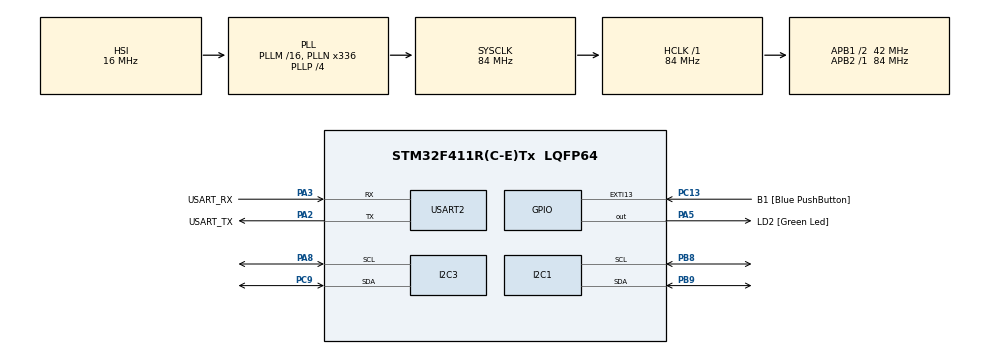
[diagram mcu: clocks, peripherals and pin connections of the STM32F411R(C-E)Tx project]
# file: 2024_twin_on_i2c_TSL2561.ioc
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I2C1.I2C_Mode=I2C_Fast
I2C3.I2C_Mode=I2C_Fast
Mcu.Family=STM32F4
Mcu.Name=STM32F411R(C-E)Tx
Mcu.Package=LQFP64
NVIC.PriorityGroup=NVIC_PRIORITYGROUP_0
PA13.GPIO_Label=TMS
PA13.Mode=Serial_Wire
PA13.Signal=SYS_JTMS-SWDIO
PA14.GPIO_Label=TCK
PA14.Mode=Serial_Wire
PA14.Signal=SYS_JTCK-SWCLK
PA2.GPIO_Label=USART_TX
PA2.Mode=Asynchronous
PA2.Signal=USART2_TX
PA3.GPIO_Label=USART_RX
PA3.Mode=Asynchronous
PA3.Signal=USART2_RX
PA5.GPIO_Label=LD2 [Green Led]
PA5.Signal=GPIO_Output
PA8.Mode=I2C
PA8.Signal=I2C3_SCL
PB3.GPIO_Label=SWO
PB3.Signal=SYS_JTDO-SWO
PB8.Mode=I2C
PB8.Signal=I2C1_SCL
PB9.Mode=I2C
PB9.Signal=I2C1_SDA
PC13-ANTI_TAMP.GPIO_Label=B1 [Blue PushButton]
PC13-ANTI_TAMP.GPIO_ModeDefaultEXTI=GPIO_MODE_IT_FALLING
PC13-ANTI_TAMP.Signal=GPXTI13
PC14-OSC32_IN.Mode=LSE-External-Oscillator
PC14-OSC32_IN.Signal=RCC_OSC32_IN
PC15-OSC32_OUT.Mode=LSE-External-Oscillator
PC15-OSC32_OUT.Signal=RCC_OSC32_OUT
PC9.Mode=I2C
PC9.Signal=I2C3_SDA
PH0\ -\ OSC_IN.Mode=HSE-External-Clock-Source
PH0\ -\ OSC_IN.Signal=RCC_OSC_IN
PH1\ -\ OSC_OUT.Mode=HSE-External-Clock-Source
PH1\ -\ OSC_OUT.Signal=RCC_OSC_OUT
ProjectManager.HeapSize=0x200
ProjectManager.StackSize=0x400
ProjectManager.TargetToolchain=STM32CubeIDE
RCC.48MHZClocksFreq_Value=84000000
RCC.AHBFreq_Value=84000000
RCC.APB1CLKDivider=RCC_HCLK_DIV2
RCC.APB1Freq_Value=42000000
RCC.APB1TimFreq_Value=84000000
RCC.APB2Freq_Value=84000000
RCC.APB2TimFreq_Value=84000000
RCC.CortexFreq_Value=84000000
RCC.FLatency-AdvancedSettings=FLASH_LATENCY_2
RCC.HCLKFreq_Value=84000000
RCC.HSE_VALUE=8000000
RCC.HSI_VALUE=16000000
RCC.PLLN=336
RCC.PLLP=RCC_PLLP_DIV4
RCC.SYSCLKFreq_VALUE=84000000
RCC.SYSCLKSource=RCC_SYSCLKSOURCE_PLLCLK
RCC.VCOOutputFreq_Value=336000000
USART2.VirtualMode=VM_ASYNC
board=NUCLEO-F411RE

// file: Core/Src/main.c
/* USER CODE BEGIN Header */
/**
  ******************************************************************************
  * @file           : main.c
  * @brief          : Main program body
  ******************************************************************************
  * @attention
  *
  * Copyright (c) 2024 STMicroelectronics.
  * All rights reserved.
  *
  * This software is licensed under terms that can be found in the LICENSE file
  * in the root directory of this software component.
  * If no LICENSE file comes with this software, it is provided AS-IS.
  *
  ******************************************************************************
  */
/* USER CODE END Header */
#include "main.h"
#include <string.h>		//for strlen and string_copy
#include <stdio.h>		//for sprintf

I2C_HandleTypeDef hi2c1;
I2C_HandleTypeDef hi2c3;

UART_HandleTypeDef huart2;

/* USER CODE BEGIN PV */
static const uint8_t TSL2561_ADDR_W = 0x72; //0x39 << 1 to write shift by 1 and add 0
static const uint8_t TSL2561_ADDR_R = 0x73; //(0x39 << 1) | 0x01 to read shift by 1 and add 1

uint8_t buffer[200]; //buffer for sending and receiving data

uint16_t read_value_TSL2561_ch0_both_A;	//raw value, both infrared and visible
uint16_t read_value_TSL2561_ch1_infraRed_A;	//raw value, just infrared
uint8_t buffer_get_ch0_A[2];	//buffer for  both infrared and visible reading
uint8_t buffer_get_ch1_A[2];	//buffer for just infrared reading
uint8_t id_A;

uint16_t read_value_TSL2561_ch0_both_B;	//raw value, both infrared and visible
uint16_t read_value_TSL2561_ch1_infraRed_B;	//raw value, just infrared
uint8_t buffer_get_ch0_B[2];	//buffer for  both infrared and visible reading
uint8_t buffer_get_ch1_B[2];	//buffer for just infrared reading
uint8_t id_B;
/* USER CODE END PV */

void SystemClock_Config(void);
static void MX_GPIO_Init(void);
static void MX_USART2_UART_Init(void);
static void MX_I2C1_Init(void);
static void MX_I2C3_Init(void);

int main(void)
{

  /* MCU Configuration--------------------------------------------------------*/

  /* Reset of all peripherals, Initializes the Flash interface and the Systick. */
  HAL_Init();

  /* Configure the system clock */
  SystemClock_Config();

  /* Initialize all configured peripherals */
  MX_GPIO_Init();
  MX_USART2_UART_Init();
  MX_I2C1_Init();
  MX_I2C3_Init();
  /* USER CODE BEGIN 2 */

  //to powered up --> manual 14 page " Control Register"

  	uint8_t resetControlRegister = 0x03;
//power up sensor A
  	HAL_I2C_Mem_Write(&hi2c1, TSL2561_ADDR_W, 0x80, 1, &resetControlRegister, 1,
  			HAL_MAX_DELAY);
  	HAL_Delay(500);
  	//read sensor ID A
  	HAL_I2C_Mem_Read(&hi2c1, TSL2561_ADDR_R, 0x8A, 1, &id_A, 1, HAL_MAX_DELAY);
  	sprintf((char*) buffer, "ID A%d  \r\n", (id_A));
  	HAL_UART_Transmit(&huart2, buffer, strlen((const char*) buffer),
  			HAL_MAX_DELAY);

  	//power up sensor B
  	  	HAL_I2C_Mem_Write(&hi2c3, TSL2561_ADDR_W, 0x80, 1, &resetControlRegister, 1,
  	  			HAL_MAX_DELAY);
  	  	HAL_Delay(500);
  	  	//read sensor ID B
  	  	HAL_I2C_Mem_Read(&hi2c3, TSL2561_ADDR_R, 0x8A, 1, &id_B, 1, HAL_MAX_DELAY);

  	  	sprintf((char*) buffer, "ID B%d  \r\n", (id_B));
  	    	  	HAL_UART_Transmit(&huart2, buffer, strlen((const char*) buffer),
  	  			HAL_MAX_DELAY);
  /* USER CODE END 2 */

  /* Infinite loop */
  while (1)
  {
	  /*After applying VDD, the device will initially be in the power-down state. To operate the device, issue a command
	  	  			 to access the CONTROL register followed by the data value 03h to power up the device. At this point, both ADC
	  	  			 channels will begin a conversion at the default integration time of 400 ms. After 400 ms, the conversion results
	  	  			 will be available in the DATA0 and DATA1 registers.*/
	  	  			//we do it before super loop
	  	  			/*One of the photodiodes 		(channel 0) is sensitive to both visible and infrared light, while the second
	  	  			 * photodiode (channel 1) is sensitive
	  	  			 primarily to infrared light.*/

	  	  			/* to calculate 'lux' there are formula in datasheet*/

	  	  			// Read 2 bytes from the channel 0 sensor A
	  	  			HAL_I2C_Mem_Read(&hi2c1, TSL2561_ADDR_R, 0xEC, 1, &buffer_get_ch0_A[0], 1,
	  	  					HAL_MAX_DELAY);
	  	  			HAL_Delay(70);
	  	  			HAL_I2C_Mem_Read(&hi2c1, TSL2561_ADDR_R, 0xED, 1, &buffer_get_ch0_A[1], 1,
	  	  					HAL_MAX_DELAY);
	  	  			HAL_Delay(70);
	  	  			// Read 2 bytes from the channel 1
	  	  			HAL_I2C_Mem_Read(&hi2c1, TSL2561_ADDR_R, 0xEE, 1, &buffer_get_ch1_A[0], 1,
	  	  					HAL_MAX_DELAY);
	  	  			HAL_Delay(70);
	  	  			HAL_I2C_Mem_Read(&hi2c1, TSL2561_ADDR_R, 0xEF, 1, &buffer_get_ch1_A[1], 1,
	  	  					HAL_MAX_DELAY);
	  	  			HAL_Delay(70);

	  	  			//Combine the bytes sensor A
	  	  			read_value_TSL2561_ch0_both_A = 256 * buffer_get_ch0_A[1]
	  	  					+ buffer_get_ch0_A[0];
	  	  			read_value_TSL2561_ch1_infraRed_A = 256 * buffer_get_ch1_A[1]
	  	  					+ buffer_get_ch1_A[0];

	  	  			//---------------------------------------
	  	  			// Read 2 bytes from the channel 0 sensor B
	  		  	  			HAL_I2C_Mem_Read(&hi2c3, TSL2561_ADDR_R, 0xEC, 1, &buffer_get_ch0_B[0], 1,
	  		  	  					HAL_MAX_DELAY);
	  		  	  			HAL_Delay(70);
	  		  	  			HAL_I2C_Mem_Read(&hi2c3, TSL2561_ADDR_R, 0xED, 1, &buffer_get_ch0_B[1], 1,
	  		  	  					HAL_MAX_DELAY);
	  		  	  			HAL_Delay(70);
	  		  	  			// Read 2 bytes from the channel 1
	  		  	  			HAL_I2C_Mem_Read(&hi2c3, TSL2561_ADDR_R, 0xEE, 1, &buffer_get_ch1_B[0], 1,
	  		  	  					HAL_MAX_DELAY);
	  		  	  			HAL_Delay(70);
	  		  	  			HAL_I2C_Mem_Read(&hi2c3, TSL2561_ADDR_R, 0xEF, 1, &buffer_get_ch1_B[1], 1,
	  		  	  					HAL_MAX_DELAY);
	  		  	  			HAL_Delay(70);

	  		  	  			//Combine the bytes sensor A
	  		  	  			read_value_TSL2561_ch0_both_B = 256 * buffer_get_ch0_B[1]
	  		  	  					+ buffer_get_ch0_B[0];
	  		  	  			read_value_TSL2561_ch1_infraRed_B = 256 * buffer_get_ch1_B[1]
	  		  	  					+ buffer_get_ch1_B[0];
	  		  	  		//Show sensors
	  		  	  			  		  	  			  	  			sprintf((char*) buffer, "Visible light A     %d  \t",
	  		  	  			  		  	  			  	  					(read_value_TSL2561_ch0_both_A));
	  		  	  			  		  	  			  	  			HAL_UART_Transmit(&huart2, buffer, strlen((const char*) buffer),
	  		  	  			  		  	  			  	  					HAL_MAX_DELAY);
	  		  	  			sprintf((char*) buffer, " %d  Visible light B\r\n",
	  		  	  					(read_value_TSL2561_ch0_both_B));
	  		  	  			HAL_UART_Transmit(&huart2, buffer, strlen((const char*) buffer),
	  		  	  					HAL_MAX_DELAY);

	  		  	  		sprintf((char*) buffer, "Infra red A         %d          ",
	  		  	  			  		  	  			  	  					(read_value_TSL2561_ch1_infraRed_A));
	  		  	  			  		  	  			  	  			HAL_UART_Transmit(&huart2, buffer, strlen((const char*) buffer),
	  		  	  			  		  	  			  	  					HAL_MAX_DELAY);

	  		  	  			sprintf((char*) buffer, " %d   Infra red B\r\n\n",
	  		  	  					(read_value_TSL2561_ch1_infraRed_B));
	  		  	  			HAL_UART_Transmit(&huart2, buffer, strlen((const char*) buffer),
	  		  	  					HAL_MAX_DELAY);

  }
}

void SystemClock_Config(void)
{
  RCC_OscInitTypeDef RCC_OscInitStruct = {0};
  RCC_ClkInitTypeDef RCC_ClkInitStruct = {0};

  /** Configure the main internal regulator output voltage
  */
  __HAL_RCC_PWR_CLK_ENABLE();
  __HAL_PWR_VOLTAGESCALING_CONFIG(PWR_REGULATOR_VOLTAGE_SCALE1);

  /** Initializes the RCC Oscillators according to the specified parameters
  * in the RCC_OscInitTypeDef structure.
  */
  RCC_OscInitStruct.OscillatorType = RCC_OSCILLATORTYPE_HSI;
  RCC_OscInitStruct.HSIState = RCC_HSI_ON;
  RCC_OscInitStruct.HSICalibrationValue = RCC_HSICALIBRATION_DEFAULT;
  RCC_OscInitStruct.PLL.PLLState = RCC_PLL_ON;
  RCC_OscInitStruct.PLL.PLLSource = RCC_PLLSOURCE_HSI;
  RCC_OscInitStruct.PLL.PLLM = 16;
  RCC_OscInitStruct.PLL.PLLN = 336;
  RCC_OscInitStruct.PLL.PLLP = RCC_PLLP_DIV4;
  RCC_OscInitStruct.PLL.PLLQ = 4;
  if (HAL_RCC_OscConfig(&RCC_OscInitStruct) != HAL_OK)
  {
    Error_Handler();
  }

  /** Initializes the CPU, AHB and APB buses clocks
  */
  RCC_ClkInitStruct.ClockType = RCC_CLOCKTYPE_HCLK|RCC_CLOCKTYPE_SYSCLK
                              |RCC_CLOCKTYPE_PCLK1|RCC_CLOCKTYPE_PCLK2;
  RCC_ClkInitStruct.SYSCLKSource = RCC_SYSCLKSOURCE_PLLCLK;
  RCC_ClkInitStruct.AHBCLKDivider = RCC_SYSCLK_DIV1;
  RCC_ClkInitStruct.APB1CLKDivider = RCC_HCLK_DIV2;
  RCC_ClkInitStruct.APB2CLKDivider = RCC_HCLK_DIV1;

  if (HAL_RCC_ClockConfig(&RCC_ClkInitStruct, FLASH_LATENCY_2) != HAL_OK)
  {
    Error_Handler();
  }
}

static void MX_I2C1_Init(void)
{

  hi2c1.Instance = I2C1;
  hi2c1.Init.ClockSpeed = 400000;
  hi2c1.Init.DutyCycle = I2C_DUTYCYCLE_2;
  hi2c1.Init.OwnAddress1 = 0;
  hi2c1.Init.AddressingMode = I2C_ADDRESSINGMODE_7BIT;
  hi2c1.Init.DualAddressMode = I2C_DUALADDRESS_DISABLE;
  hi2c1.Init.OwnAddress2 = 0;
  hi2c1.Init.GeneralCallMode = I2C_GENERALCALL_DISABLE;
  hi2c1.Init.NoStretchMode = I2C_NOSTRETCH_DISABLE;
  if (HAL_I2C_Init(&hi2c1) != HAL_OK)
  {
    Error_Handler();
  }

}

static void MX_I2C3_Init(void)
{

  hi2c3.Instance = I2C3;
  hi2c3.Init.ClockSpeed = 400000;
  hi2c3.Init.DutyCycle = I2C_DUTYCYCLE_2;
  hi2c3.Init.OwnAddress1 = 0;
  hi2c3.Init.AddressingMode = I2C_ADDRESSINGMODE_7BIT;
  hi2c3.Init.DualAddressMode = I2C_DUALADDRESS_DISABLE;
  hi2c3.Init.OwnAddress2 = 0;
  hi2c3.Init.GeneralCallMode = I2C_GENERALCALL_DISABLE;
  hi2c3.Init.NoStretchMode = I2C_NOSTRETCH_DISABLE;
  if (HAL_I2C_Init(&hi2c3) != HAL_OK)
  {
    Error_Handler();
  }

}

static void MX_USART2_UART_Init(void)
{

  huart2.Instance = USART2;
  huart2.Init.BaudRate = 115200;
  huart2.Init.WordLength = UART_WORDLENGTH_8B;
  huart2.Init.StopBits = UART_STOPBITS_1;
  huart2.Init.Parity = UART_PARITY_NONE;
  huart2.Init.Mode = UART_MODE_TX_RX;
  huart2.Init.HwFlowCtl = UART_HWCONTROL_NONE;
  huart2.Init.OverSampling = UART_OVERSAMPLING_16;
  if (HAL_UART_Init(&huart2) != HAL_OK)
  {
    Error_Handler();
  }

}

static void MX_GPIO_Init(void)
{
  GPIO_InitTypeDef GPIO_InitStruct = {0};

  /* GPIO Ports Clock Enable */
  __HAL_RCC_GPIOC_CLK_ENABLE();
  __HAL_RCC_GPIOH_CLK_ENABLE();
  __HAL_RCC_GPIOA_CLK_ENABLE();
  __HAL_RCC_GPIOB_CLK_ENABLE();

  /*Configure GPIO pin Output Level */
  HAL_GPIO_WritePin(LD2_GPIO_Port, LD2_Pin, GPIO_PIN_RESET);

  /*Configure GPIO pin : B1_Pin */
  GPIO_InitStruct.Pin = B1_Pin;
  GPIO_InitStruct.Mode = GPIO_MODE_IT_FALLING;
  GPIO_InitStruct.Pull = GPIO_NOPULL;
  HAL_GPIO_Init(B1_GPIO_Port, &GPIO_InitStruct);

  /*Configure GPIO pin : LD2_Pin */
  GPIO_InitStruct.Pin = LD2_Pin;
  GPIO_InitStruct.Mode = GPIO_MODE_OUTPUT_PP;
  GPIO_InitStruct.Pull = GPIO_NOPULL;
  GPIO_InitStruct.Speed = GPIO_SPEED_FREQ_LOW;
  HAL_GPIO_Init(LD2_GPIO_Port, &GPIO_InitStruct);

}

void Error_Handler(void)
{
  __disable_irq();
  while (1)
  {
  }
}
